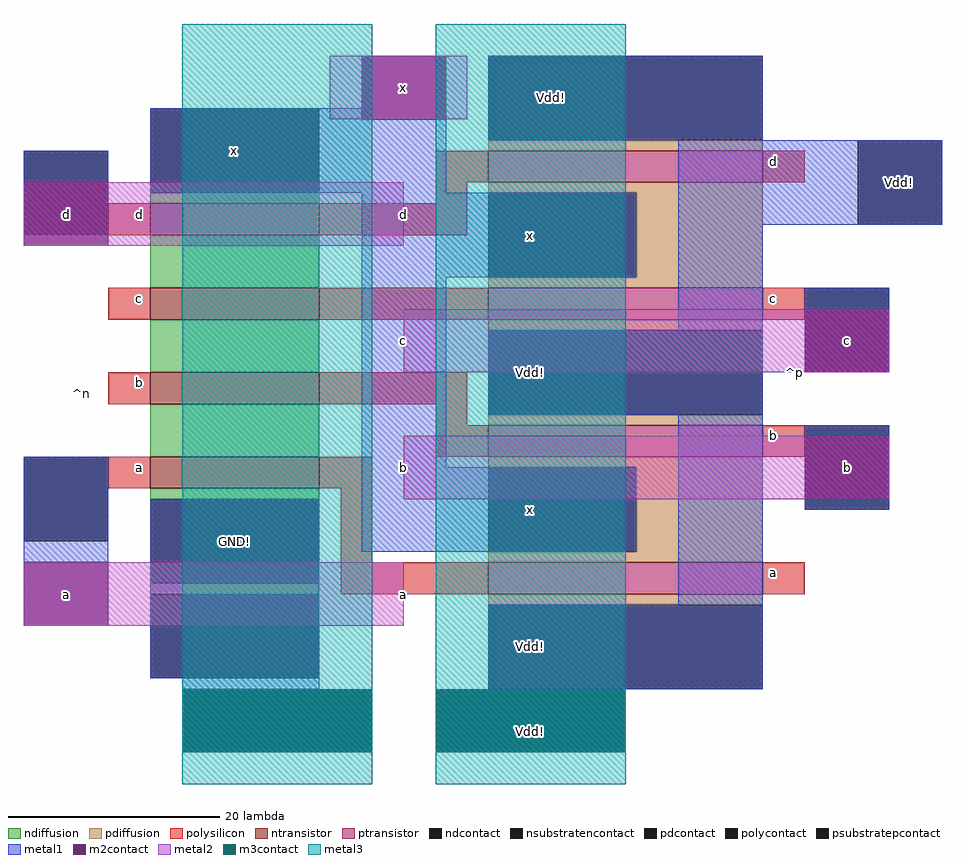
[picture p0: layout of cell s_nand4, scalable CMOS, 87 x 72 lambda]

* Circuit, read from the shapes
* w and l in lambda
.subckt s_nand4 GND! Vdd! a b c d x
M1 n1 a GND! GND! nfet w=16 l=3
M2 n2 b n1 GND! nfet w=16 l=3
M3 n3 c n2 GND! nfet w=16 l=3
M4 x d n3 GND! nfet w=16 l=3
M5 x a Vdd! Vdd! pfet w=26 l=3
M6 Vdd! b x Vdd! pfet w=26 l=3
M7 x c Vdd! Vdd! pfet w=26 l=3
M8 Vdd! d x Vdd! pfet w=26 l=3
.ends

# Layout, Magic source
magic
tech scmos
<< ndiffusion >>
rect -24 533 -8 534
rect -24 525 -8 530
rect -24 517 -8 522
rect -24 509 -8 514
rect -24 505 -8 506
rect -24 496 -8 497
<< pdiffusion >>
rect 8 538 34 539
rect 8 534 34 535
rect 22 526 34 534
rect 8 525 34 526
rect 8 521 34 522
rect 8 512 34 513
rect 8 508 34 509
rect 22 500 34 508
rect 8 499 34 500
rect 8 495 34 496
<< ntransistor >>
rect -24 530 -8 533
rect -24 522 -8 525
rect -24 514 -8 517
rect -24 506 -8 509
<< ptransistor >>
rect 8 535 34 538
rect 8 522 34 525
rect 8 509 34 512
rect 8 496 34 499
<< polysilicon >>
rect 3 535 8 538
rect 34 535 38 538
rect 3 533 6 535
rect -28 530 -24 533
rect -8 530 6 533
rect -28 522 -24 525
rect -8 522 8 525
rect 34 522 38 525
rect -28 514 -24 517
rect -8 514 6 517
rect 3 512 6 514
rect 3 509 8 512
rect 34 509 38 512
rect -28 506 -24 509
rect -8 506 -3 509
rect -6 499 -3 506
rect -6 496 8 499
rect 34 496 38 499
<< ndcontact >>
rect -24 534 -8 542
rect -24 497 -8 505
<< pdcontact >>
rect 8 539 34 547
rect 8 526 22 534
rect 8 513 34 521
rect 8 500 22 508
rect 8 487 34 495
<< psubstratepcontact >>
rect -24 488 -8 496
<< nsubstratencontact >>
rect 43 531 51 539
<< polycontact >>
rect -36 530 -28 538
rect 38 517 46 525
rect -36 501 -28 509
rect 38 504 46 512
<< metal1 >>
rect -24 541 -4 542
rect -36 535 -28 538
rect -24 534 4 541
rect 8 539 34 547
rect -4 526 22 534
rect 26 531 51 539
rect -36 499 -28 509
rect -4 508 4 526
rect 26 521 34 531
rect 8 513 34 521
rect 38 523 46 525
rect -24 488 -8 505
rect -4 500 22 508
rect 26 495 34 513
rect 38 511 46 512
rect 38 504 46 505
rect -21 487 -8 488
rect 8 487 34 495
<< m2contact >>
rect -4 541 4 547
rect -36 529 -28 535
rect 38 517 46 523
rect -36 493 -28 499
rect 38 505 46 511
rect -21 481 -3 487
rect 3 481 21 487
<< metal2 >>
rect -7 541 6 547
rect -36 529 0 535
rect 0 517 46 523
rect 0 505 46 511
rect -36 493 0 499
<< m3contact >>
rect -21 481 -3 487
rect 3 481 21 487
<< metal3 >>
rect -21 478 -3 550
rect 3 478 21 550
<< labels >>
rlabel metal1 12 530 12 530 5 x
rlabel metal1 12 517 12 517 1 Vdd!
rlabel metal1 12 504 12 504 1 x
rlabel metal1 12 491 12 491 5 Vdd!
rlabel m2contact 12 483 12 483 5 Vdd!
rlabel metal2 0 544 0 544 5 x
rlabel metal1 -16 538 -16 538 5 x
rlabel metal1 -16 501 -16 501 5 GND!
rlabel metal1 47 535 47 535 7 Vdd!
rlabel space 22 486 52 548 3 ^p
rlabel polysilicon -25 532 -25 532 3 d
rlabel polysilicon -25 524 -25 524 3 c
rlabel polysilicon -25 516 -25 516 3 b
rlabel polysilicon -25 508 -25 508 3 a
rlabel metal2 0 529 0 535 7 d
rlabel metal2 0 517 0 523 3 c
rlabel metal2 0 505 0 511 3 b
rlabel metal2 0 493 0 499 7 a
rlabel polysilicon 35 537 35 537 1 d
rlabel polysilicon 35 524 35 524 1 c
rlabel polysilicon 35 498 35 498 1 a
rlabel polysilicon 35 511 35 511 1 b
rlabel metal1 14 543 14 543 1 Vdd!
rlabel space -37 488 -24 542 7 ^n
rlabel metal2 -32 532 -32 532 3 d
rlabel metal2 42 520 42 520 1 c
rlabel metal2 42 508 42 508 1 b
rlabel metal2 -32 496 -32 496 3 a
<< end >>
